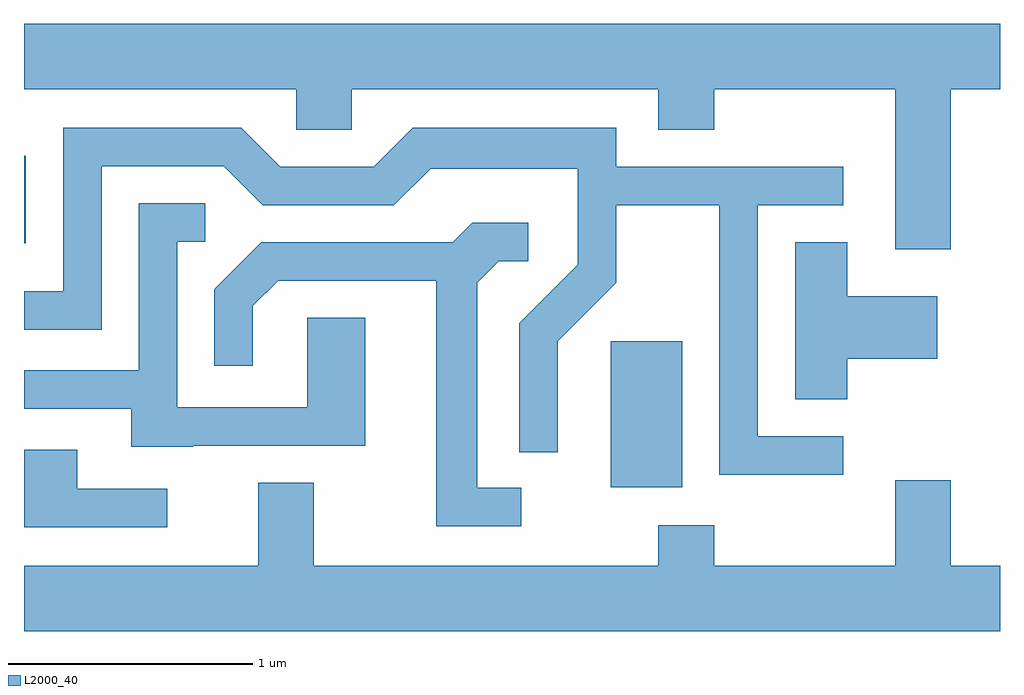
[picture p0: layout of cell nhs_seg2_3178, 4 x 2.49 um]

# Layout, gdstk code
import gdstk
lib = gdstk.Library(unit=1e-6, precision=1e-09)
def R(c, l, rs):  # rectangles x0, y0, x1, y1
    for r in rs: c.add(gdstk.rectangle(r[:2], r[2:], *l))
def P(c, l, *ps):  # polygons
    for p in ps: c.add(gdstk.Polygon(p, *l))
L2000_40 = (2000, 40)

nhs_seg2_3178 = lib.new_cell('nhs_seg2_3178')
R(nhs_seg2_3178, L2000_40, [(280.016,1091.086,280.309,1091.684), (277.611,1092.086,277.619,1092.443)])
P(nhs_seg2_3178, L2000_40, [(281.409,1092.716),(281.611,1092.716),(281.611,1092.984),(277.611,1092.984),(277.611,1092.716),(278.726,1092.716),(278.726,1092.551),(278.954,1092.551),(278.954,1092.716),(280.211,1092.716),(280.211,1092.551),(280.439,1092.551),(280.439,1092.716),(281.181,1092.716),(281.181,1092.061),(281.409,1092.061)],
  [(280.968,1091.294),(280.619,1091.294),(280.619,1092.241),(280.968,1092.241),(280.968,1092.399),(280.039,1092.399),(280.039,1092.559),(279.204,1092.559),(279.044,1092.399),(278.662,1092.399),(278.502,1092.559),(277.771,1092.559),(277.771,1091.889),(277.611,1091.889),(277.611,1091.731),(277.929,1091.731),(277.929,1092.401),(278.429,1092.401),(278.589,1092.241),(279.127,1092.241),(279.277,1092.391),(279.881,1092.391),(279.881,1091.997),(279.641,1091.757),(279.641,1091.228),(279.799,1091.228),(279.799,1091.684),(280.039,1091.924),(280.039,1092.241),(280.461,1092.241),(280.461,1091.136),(280.968,1091.136)],
  [(278.305,1091.256),(279.009,1091.256),(279.009,1091.779),(278.771,1091.779),(278.771,1091.414),(278.239,1091.414),(278.239,1092.091),(278.353,1092.091),(278.353,1092.249),(278.081,1092.249),(278.081,1091.564),(277.611,1091.564),(277.611,1091.406),(278.051,1091.406),(278.051,1091.251),(278.305,1091.251)],
  [(279.648,1091.084),(279.469,1091.084),(279.469,1091.924),(279.557,1092.011),(279.678,1092.011),(279.678,1092.169),(279.449,1092.169),(279.369,1092.089),(278.584,1092.089),(278.391,1091.897),(278.391,1091.583),(278.549,1091.583),(278.549,1091.829),(278.652,1091.931),(279.301,1091.931),(279.301,1090.926),(279.648,1090.926)],
  [(280.984,1091.611),(281.354,1091.611),(281.354,1091.869),(280.984,1091.869),(280.984,1092.089),(280.771,1092.089),(280.771,1091.446),(280.984,1091.446)],
  [(278.198,1091.079),(277.829,1091.079),(277.829,1091.239),(277.611,1091.239),(277.611,1090.921),(278.198,1090.921)],
  [(281.611,1090.764),(281.409,1090.764),(281.409,1091.114),(281.181,1091.114),(281.181,1090.764),(280.439,1090.764),(280.439,1090.929),(280.211,1090.929),(280.211,1090.764),(278.799,1090.764),(278.799,1091.104),(278.571,1091.104),(278.571,1090.764),(277.611,1090.764),(277.611,1090.496),(281.611,1090.496)])

lib.write_gds('nhs_seg2_3178.gds')
